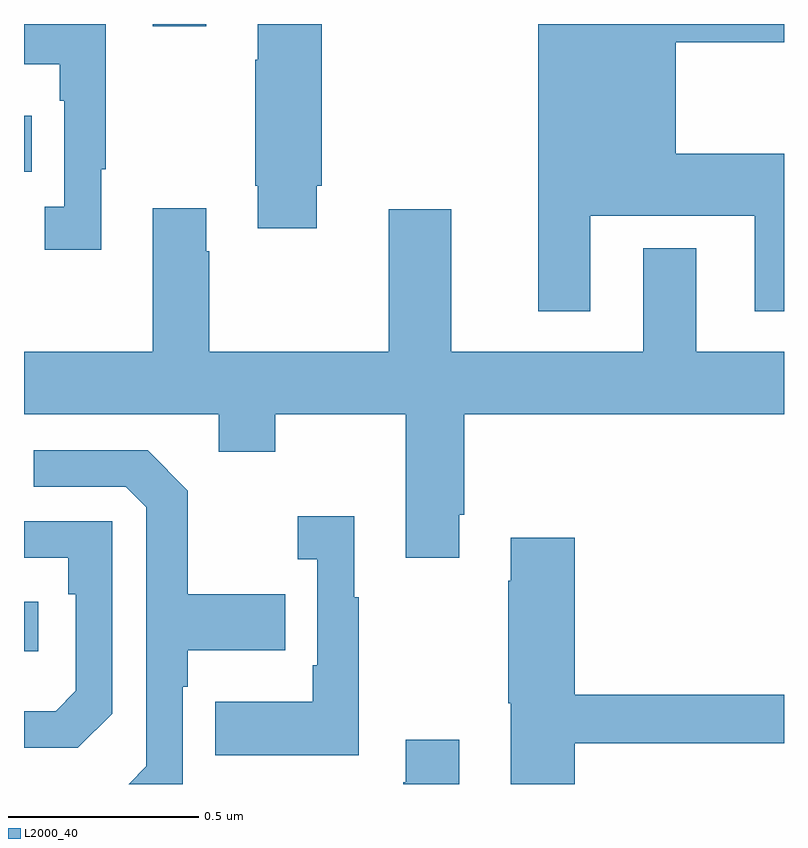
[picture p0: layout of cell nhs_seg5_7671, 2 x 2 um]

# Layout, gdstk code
import gdstk
lib = gdstk.Library(unit=1e-6, precision=1e-09)
def R(c, l, rs):  # rectangles x0, y0, x1, y1
    for r in rs: c.add(gdstk.rectangle(r[:2], r[2:], *l))
def P(c, l, *ps):  # polygons
    for p in ps: c.add(gdstk.Polygon(p, *l))
L2000_40 = (2000, 40)

nhs_seg5_7671 = lib.new_cell('nhs_seg5_7671')
R(nhs_seg5_7671, L2000_40, [(212,844.148,212.038,844.278), (212,845.41,212.021,845.557), (212.339,845.793,212.479,845.799)])
P(nhs_seg5_7671, L2000_40, [(212.203,845.417),(212.215,845.417),(212.215,845.799),(212,845.799),(212,845.693),(212.094,845.693),(212.094,845.597),(212.106,845.597),(212.106,845.318),(212.055,845.318),(212.055,845.205),(212.203,845.205)],
  [(212.77,845.374),(212.783,845.374),(212.783,845.799),(212.615,845.799),(212.615,845.705),(212.608,845.705),(212.608,845.374),(212.615,845.374),(212.615,845.262),(212.77,845.262)],
  [(213.49,845.294),(213.923,845.294),(213.923,845.043),(214,845.043),(214,845.458),(213.715,845.458),(213.715,845.751),(214,845.751),(214,845.799),(213.353,845.799),(213.353,845.043),(213.49,845.043)],
  [(213.145,844.507),(213.158,844.507),(213.158,844.772),(214,844.772),(214,844.936),(213.769,844.936),(213.769,845.209),(213.629,845.209),(213.629,844.936),(213.124,844.936),(213.124,845.311),(212.96,845.311),(212.96,844.936),(212.487,844.936),(212.487,845.201),(212.479,845.201),(212.479,845.314),(212.339,845.314),(212.339,844.936),(212,844.936),(212,844.772),(212.513,844.772),(212.513,844.673),(212.661,844.673),(212.661,844.772),(213.005,844.772),(213.005,844.395),(213.145,844.395)],
  [(212.418,844.055),(212.431,844.055),(212.431,844.151),(212.687,844.151),(212.687,844.299),(212.431,844.299),(212.431,844.571),(212.325,844.677),(212.025,844.677),(212.025,844.581),(212.268,844.581),(212.322,844.527),(212.322,843.846),(212.275,843.799),(212.418,843.799)],
  [(212.881,844.291),(212.869,844.291),(212.869,844.504),(212.721,844.504),(212.721,844.391),(212.772,844.391),(212.772,844.111),(212.76,844.111),(212.76,844.015),(212.503,844.015),(212.503,843.875),(212.881,843.875)],
  [(212.232,843.984),(212.232,844.491),(212,844.491),(212,844.395),(212.116,844.395),(212.116,844.298),(212.136,844.298),(212.136,844.044),(212.083,843.991),(212,843.991),(212,843.894),(212.142,843.894)],
  [(213.449,843.906),(214,843.906),(214,844.034),(213.449,844.034),(213.449,844.447),(213.281,844.447),(213.281,844.334),(213.274,844.334),(213.274,844.011),(213.281,844.011),(213.281,843.799),(213.449,843.799)],
  [(213.145,843.916),(213.005,843.916),(213.005,843.803),(212.998,843.803),(212.998,843.799),(213.145,843.799)])

lib.write_gds('nhs_seg5_7671.gds')
